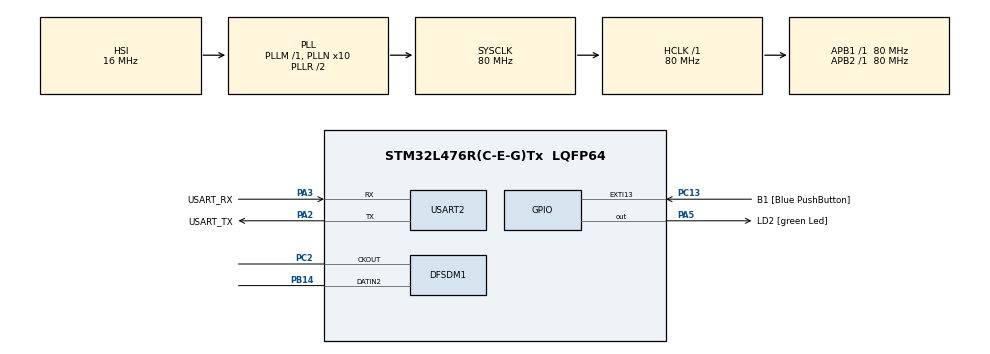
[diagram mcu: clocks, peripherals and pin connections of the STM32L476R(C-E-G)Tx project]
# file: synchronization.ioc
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DFSDM1.Divider=32
DFSDM1.DmaMode_reg_FIL0=ENABLE
DFSDM1.FastMode_reg_FIL0=ENABLE
DFSDM1.Filter_regChannel_FIL0=DFSDM_CHANNEL_2
DFSDM1.Filter_regChannel_FIL1=__NULL
DFSDM1.Filter_regChannel_FIL2=__NULL
DFSDM1.Fosr_FIL0=32
DFSDM1.Iosr_FIL0=1
DFSDM1.Offset_CH2=0
DFSDM1.Oversampling_CH2=10
DFSDM1.RightBitShift_CH2=0x2
DFSDM1.SincOrder_FIL0=DFSDM_FILTER_SINC5_ORDER
Dma.DFSDM1_FLT0.0.Direction=DMA_PERIPH_TO_MEMORY
Dma.DFSDM1_FLT0.0.Instance=DMA1_Channel4
Dma.DFSDM1_FLT0.0.MemDataAlignment=DMA_MDATAALIGN_WORD
Dma.DFSDM1_FLT0.0.MemInc=DMA_MINC_ENABLE
Dma.DFSDM1_FLT0.0.Mode=DMA_CIRCULAR
Dma.DFSDM1_FLT0.0.PeriphDataAlignment=DMA_PDATAALIGN_WORD
Dma.DFSDM1_FLT0.0.PeriphInc=DMA_PINC_DISABLE
Dma.DFSDM1_FLT0.0.Priority=DMA_PRIORITY_MEDIUM
Dma.Request0=DFSDM1_FLT0
Mcu.Family=STM32L4
Mcu.Name=STM32L476R(C-E-G)Tx
Mcu.Package=LQFP64
NVIC.DMA1_Channel4_IRQn=true\:0\:0\:true\:false\:true\:false
NVIC.EXTI15_10_IRQn=true\:0\:0\:false\:false\:true\:true
NVIC.PriorityGroup=NVIC_PRIORITYGROUP_4
NVIC.USART2_IRQn=true\:0\:0\:false\:false\:true\:true
PA13\ (JTMS-SWDIO).GPIO_Label=TMS
PA13\ (JTMS-SWDIO).Mode=Serial_Wire
PA13\ (JTMS-SWDIO).Signal=SYS_JTMS-SWDIO
PA14\ (JTCK-SWCLK).GPIO_Label=TCK
PA14\ (JTCK-SWCLK).Mode=Serial_Wire
PA14\ (JTCK-SWCLK).Signal=SYS_JTCK-SWCLK
PA2.GPIO_Label=USART_TX
PA2.GPIO_Mode=GPIO_MODE_AF_PP
PA2.GPIO_PuPd=GPIO_NOPULL
PA2.GPIO_Speed=GPIO_SPEED_FREQ_VERY_HIGH
PA2.Mode=Asynchronous
PA2.Signal=USART2_TX
PA3.GPIO_Label=USART_RX
PA3.GPIO_Mode=GPIO_MODE_AF_PP
PA3.GPIO_PuPd=GPIO_NOPULL
PA3.GPIO_Speed=GPIO_SPEED_FREQ_VERY_HIGH
PA3.Mode=Asynchronous
PA3.Signal=USART2_RX
PA5.GPIO_Label=LD2 [green Led]
PA5.GPIO_ModeDefaultOutputPP=GPIO_MODE_OUTPUT_PP
PA5.GPIO_PuPd=GPIO_NOPULL
PA5.GPIO_Speed=GPIO_SPEED_FREQ_LOW
PA5.Signal=GPIO_Output
PB14.Signal=S_DATAIN2DFSDM1
PB3\ (JTDO-TRACESWO).GPIO_Label=SWO
PB3\ (JTDO-TRACESWO).Signal=SYS_JTDO-SWO
PC13.GPIO_Label=B1 [Blue PushButton]
PC13.GPIO_ModeDefaultEXTI=GPIO_MODE_IT_FALLING
PC13.GPIO_PuPd=GPIO_NOPULL
PC13.Signal=GPXTI13
PC2.Signal=S_CKOUTDFSDM1
ProjectManager.HeapSize=0x200
ProjectManager.StackSize=0x400
ProjectManager.TargetToolchain=TrueSTUDIO
RCC.ADCFreq_Value=64000000
RCC.AHBFreq_Value=80000000
RCC.APB1Freq_Value=80000000
RCC.APB1TimFreq_Value=80000000
RCC.APB2Freq_Value=80000000
RCC.APB2TimFreq_Value=80000000
RCC.CortexFreq_Value=80000000
RCC.HCLKFreq_Value=80000000
RCC.HSE_VALUE=8000000
RCC.HSI_VALUE=16000000
RCC.LSE_VALUE=32768
RCC.MSI_VALUE=4000000
RCC.PLLN=10
RCC.PLLSourceVirtual=RCC_PLLSOURCE_HSI
RCC.PREFETCH_ENABLE=1
RCC.SYSCLKFreq_VALUE=80000000
RCC.SYSCLKSource=RCC_SYSCLKSOURCE_PLLCLK
RCC.USBFreq_Value=64000000
RCC.VCOOutputFreq_Value=160000000
SH.S_CKOUTDFSDM1.0=DFSDM1_CKOUT,PDM_SPI_input_from_ch2_and_internal_clock
SH.S_CKOUTDFSDM1.1=DFSDM1_CKOUT,CKOUT
SH.S_DATAIN2DFSDM1.0=DFSDM1_DATIN2,PDM_SPI_input_from_ch2_and_internal_clock
USART2.VirtualMode-Asynchronous=VM_ASYNC
USART2.WordLength=WORDLENGTH_8B
board=NUCLEO-L476RG

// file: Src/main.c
/**
  ******************************************************************************
  * @file           : main.c
  * @brief          : Main program body
  ******************************************************************************
  ** This notice applies to any and all portions of this file
  * that are not between comment pairs USER CODE BEGIN and
  * USER CODE END. Other portions of this file, whether
  * inserted by the user or by software development tools
  * are owned by their respective copyright owners.
  *
  * COPYRIGHT(c) 2018 STMicroelectronics
  *
  * Redistribution and use in source and binary forms, with or without modification,
  * are permitted provided that the following conditions are met:
  *   1. Redistributions of source code must retain the above copyright notice,
  *      this list of conditions and the following disclaimer.
  *   2. Redistributions in binary form must reproduce the above copyright notice,
  *      this list of conditions and the following disclaimer in the documentation
  *      and/or other materials provided with the distribution.
  *   3. Neither the name of STMicroelectronics nor the names of its contributors
  *      may be used to endorse or promote products derived from this software
  *      without specific prior written permission.
  *
  * THIS SOFTWARE IS PROVIDED BY THE COPYRIGHT HOLDERS AND CONTRIBUTORS "AS IS"
  * AND ANY EXPRESS OR IMPLIED WARRANTIES, INCLUDING, BUT NOT LIMITED TO, THE
  * IMPLIED WARRANTIES OF MERCHANTABILITY AND FITNESS FOR A PARTICULAR PURPOSE ARE
  * DISCLAIMED. IN NO EVENT SHALL THE COPYRIGHT HOLDER OR CONTRIBUTORS BE LIABLE
  * FOR ANY DIRECT, INDIRECT, INCIDENTAL, SPECIAL, EXEMPLARY, OR CONSEQUENTIAL
  * DAMAGES (INCLUDING, BUT NOT LIMITED TO, PROCUREMENT OF SUBSTITUTE GOODS OR
  * SERVICES; LOSS OF USE, DATA, OR PROFITS; OR BUSINESS INTERRUPTION) HOWEVER
  * CAUSED AND ON ANY THEORY OF LIABILITY, WHETHER IN CONTRACT, STRICT LIABILITY,
  * OR TORT (INCLUDING NEGLIGENCE OR OTHERWISE) ARISING IN ANY WAY OUT OF THE USE
  * OF THIS SOFTWARE, EVEN IF ADVISED OF THE POSSIBILITY OF SUCH DAMAGE.
  *
  ******************************************************************************
  */
#include "main.h"
#include "stm32l4xx_hal.h"
#include "dfsdm.h"
#include "dma.h"
#include "usart.h"
#include "gpio.h"

/* USER CODE BEGIN Includes */
#include "math.h"
#include "stdbool.h"
#include "arm_math.h"
#include "arm_const_structs.h"
#include "chirp.h"
/* USER CODE END Includes */

/* USER CODE BEGIN PV */
/* Private variables ---------------------------------------------------------*/

const uint32_t PCM_SAMPLES_HALF = PCM_SAMPLES / 2;
const uint32_t PCM_SAMPLES_DOUBLE = PCM_SAMPLES * 2;

// flag: "new PCM data has just been copied to buf"
bool new_pcm_data = false;

// Audio sampling rate and period
float f_s;
float T;

// DMA peripheral to memory buffer
int32_t buf[PCM_SAMPLES] = { 0 };

// FIFO queue of PCM data for further processing (FFT)
// Note: PCM_SAMPLES * 4 does not work. Array size limitation???
float fifo_queue[PCM_SAMPLES * 3] = { 0.0f };

// FFT-related
float hann_window[PCM_SAMPLES];
const float WINDOW_SCALE = 2.0f * M_PI / (float) PCM_SAMPLES;

// UART output flag
bool output_result = false;

// UART input/output
uint8_t rxbuf[1];
bool all_data = false;

// State machine
enum state {
  IDLE, SYNCHRONIZING, SYNCHRONIZED, DATA_RECEIVING
};
enum state state = IDLE;

const char STATE[4][16] = { "IDLE", "SYNCHRONIZING", "SYNCHRONIZED",
    "DATA_RECEIVING" };
const char SIMPLE_STATE[4] = { 'I', 'G', 'S' ,'R' };

enum ope_mode {
  NORMAL, SIMPLE, DETAIL
};

const enum ope_mode MODE = NORMAL;

// Stats
struct history {
  float mag_max;  // Max magnitude in the bandwidth
  float mag_max_left;  // Max magnitude in the left
  float mag_max_right;  // Max magnitude in the right
  int32_t max_freq;  // Frequency at max magnitude in the bandwidth
  int32_t max_freq_left;   // Frequency at max magnitude in the left
  int32_t max_freq_right;  // Frequency at max magnitude in the right
  uint32_t start_time;   // DSP start time
  uint32_t finish_time;  // DSP finish time
  float mag_mean;  // Mean magnitude in the past
  float snr;  // S/N Ratio
  char rank;  // Magnitude ranking
};

uint32_t bandwidth;
uint32_t bandwidth2;
uint32_t idx_left_zero;

/* USER CODE END PV */

void SystemClock_Config(void);

/* USER CODE BEGIN PFP */
/* Private function prototypes -----------------------------------------------*/

/* USER CODE END PFP */

/* USER CODE BEGIN 0 */

int32_t idx2freq(uint32_t idx) {
  if (idx < PCM_SAMPLES_HALF) {
    return (int32_t) f_s * idx / PCM_SAMPLES;
  } else {
    return ((int32_t) f_s * (PCM_SAMPLES - idx) / PCM_SAMPLES) * -1;
  }
}

// Digital signal processing pipeline
void pipeline(float *pframe, int updown) {

  // Execute real up-chirp w/ real noise * complex up-chirp
  mult_ref_chirp(pframe, updown);

  // Windowing
  arm_cmplx_mult_real_f32(pframe, hann_window, pframe, PCM_SAMPLES);

  // Execute complex FFT
  arm_cfft_f32(&arm_cfft_sR_f32_len2048, pframe, 0, 1);

  // Calculate magnitude
  arm_cmplx_mag_f32(pframe, pframe, PCM_SAMPLES);

}

// Digital signal processing
void dsp(uint32_t sync_position, struct history *phist, float32_t mag_mean,
    int updown) {

  float32_t time_frame[PCM_SAMPLES_DOUBLE];
  uint32_t re, im;

  float mag_max;
  float mag_max_left;
  float mag_max_right;
  uint32_t max_idx;
  uint32_t max_idx_left;
  uint32_t max_idx_right;

  // Copy PCM data to input/output buffer for DSP
  for (uint32_t i = 0; i < PCM_SAMPLES; i++) {
    re = i * 2;
    im = re + 1;
    time_frame[re] = fifo_queue[sync_position + i];
    time_frame[im] = 0.0f;
  }

  uint32_t start_time = HAL_GetTick();

// Digital signal processing pipeline
  pipeline(time_frame, updown);

// Calculate indexes of max magnitudes
  arm_max_f32(&time_frame[idx_left_zero], bandwidth2, &mag_max_left,
      &max_idx_left);
  arm_max_f32(&time_frame[0], bandwidth2, &mag_max_right, &max_idx_right);
  if (mag_max_left > mag_max_right) {
    mag_max = mag_max_left;
    max_idx = idx_left_zero + max_idx_left;
  } else {
    mag_max = mag_max_right;
    max_idx = max_idx_right;
  }

  uint32_t finish_time = HAL_GetTick();

  // Stats
  phist->mag_max = mag_max;
  phist->mag_max_left = mag_max_left;
  phist->mag_max_right = mag_max_right;
  phist->max_freq = idx2freq(max_idx);
  phist->max_freq_left = idx2freq(idx_left_zero + max_idx_left);
  phist->max_freq_right = idx2freq(max_idx_right);
  phist->start_time = start_time;
  phist->finish_time = finish_time;
  phist->mag_mean = mag_mean;
  phist->snr = (mag_max - mag_mean) / mag_mean;

}

float32_t symbol_snr(uint32_t sync_position, struct history *phist, int updown) {
  dsp(sync_position, phist, phist->mag_mean, updown);
  return phist->snr;
}

void set_ranks(struct history hist[], char r0, char r1) {
  hist[0].rank = r0;
  hist[1].rank = r1;
}

void resync(float32_t snr, struct history hist[], uint32_t offset,
    uint32_t *sync_position, int updown) {

  int32_t sync_position_l = *sync_position - offset;
  int32_t sync_position_r = *sync_position + offset;

  float32_t snr_l = symbol_snr(sync_position_l, &hist[2], updown);
  float32_t snr_r = symbol_snr(sync_position_r, &hist[3], updown);

  if ((snr > snr_l) && (snr > snr_r)) {
    set_ranks(&hist[2], '-', '-');
  } else {  // Adjust sync_position

    if (snr_l >= snr_r) {
      if (sync_position_l >= 0) {
        *sync_position = sync_position_l;
        set_ranks(&hist[2], 'L', '-');  // move sync_position left
      } else {
        set_ranks(&hist[2], 'l', '-');  // reached left edge
      }
    } else if (snr_l < snr_r) {
      if (sync_position_r <= PCM_SAMPLES_DOUBLE) {
        *sync_position = sync_position_r;
        set_ranks(&hist[2], '-', 'R');  // move sync_position right
      } else {
        set_ranks(&hist[2], '-', 'r');  // reached right edge
      }
    }

  }
}

void print_history(enum state prev_state, enum state state,
    struct history hist[], int num, enum ope_mode mode) {

  switch(mode) {

  case NORMAL:
    break;

  case SIMPLE:
    printf("%c => %c\n", SIMPLE_STATE[prev_state], SIMPLE_STATE[state]);
    for (int i = 0; i < num; i++) {
      printf("%c,%6.1f\n", hist[i].rank, hist[i].snr);
    }
    break;

  case DETAIL:
    printf("\nstate: %s => %s\n", STATE[prev_state], STATE[state]);
    printf(
        "r,  freq,freq_l,freq_r, t_s, t_f,      max,    max_l,    max_r, mag_mean,   snr\n");
    for (int i = 0; i < num; i++) {
      printf("%c,%6ld,%6ld,%6ld,%4lu,%4lu, %4.2e, %4.2e, %4.2e, %4.2e,%6.1f\n",
          hist[i].rank, hist[i].max_freq, hist[i].max_freq_left,
          hist[i].max_freq_right, hist[i].start_time % 1000,
          hist[i].finish_time % 1000, hist[i].mag_max, hist[i].mag_max_left,
          hist[i].mag_max_right, hist[i].mag_mean, hist[i].snr);
    }
    break;
  }
}

/* USER CODE END 0 */

int main(void)
{
  /* USER CODE BEGIN 1 */
  const bool MODE = true;

  uint32_t max_idx = 0;
  uint32_t turn = 0;
  uint32_t offset, shift;

// Stats-related
  struct history history[8];

  float mag_stat[12] = { 1E37, 1E37, 1E37, 1E37, 1E37, 1E37, 1E37, 1E37, 1E37,
      1E37, 1E37, 1E37 };

  float mag_max;
  float mag_mean;
  float mag_max_max;

  // Time frame synchronization
  uint32_t sync_cnt = 0;
  uint32_t sync_position = PCM_SAMPLES_HALF;
  float32_t snr, snr_up, snr_down;

  enum state prev_state = IDLE;

  char msg[128];
  int msg_len = 0;

  /* USER CODE END 1 */

  /* MCU Configuration----------------------------------------------------------*/

  /* Reset of all peripherals, Initializes the Flash interface and the Systick. */
  HAL_Init();

  /* Configure the system clock */
  SystemClock_Config();

  /* Initialize all configured peripherals */
  MX_GPIO_Init();
  MX_DMA_Init();
  MX_USART2_UART_Init();
  MX_DFSDM1_Init();
  /* USER CODE BEGIN 2 */

// FFT sampling rate
  f_s = SystemCoreClock / hdfsdm1_channel2.Init.OutputClock.Divider
      / hdfsdm1_filter0.Init.FilterParam.Oversampling
      / hdfsdm1_filter0.Init.FilterParam.IntOversampling;

// Statistics-related
  bandwidth = (F1 - F0) * PCM_SAMPLES / f_s;
  bandwidth2 = bandwidth * 2;
  idx_left_zero = PCM_SAMPLES - bandwidth2;

// Initialize reference chirp signal
  init_ref_chirp(f_s);

// Enable UART receive interrupt
  HAL_UART_Receive_IT(&huart2, rxbuf, 1);

// Enable DMA from DFSDM to buf (peripheral to memory)
  if (HAL_DFSDM_FilterRegularStart_DMA(&hdfsdm1_filter0, buf, PCM_SAMPLES)
      != HAL_OK) {
    Error_Handler();
  }

// Generate Hanning window
  for (uint32_t i = 0; i < PCM_SAMPLES; i++) {
    hann_window[i] = 0.5f - 0.5f * arm_cos_f32((float) i * WINDOW_SCALE);
  }

// Print starting message
  printf("/// Receiver ///\n\n");
  printf("Sampling rate: %4.1f(kHz)\n", (float) f_s / 1000.0f);
  T = 1.0f / f_s * PCM_SAMPLES;
  printf("Sampling period: %.1f(msec), Samples per period: %ld\n\n",
      T * 1000.0f, PCM_SAMPLES);
  printf("Push USER button to output single-shot FFT\n");
  /* USER CODE END 2 */

  /* Infinite loop */
  /* USER CODE BEGIN WHILE */
  offset = PCM_SAMPLES / 8;
  shift = PCM_SAMPLES / 4;

  while (1) {

    HAL_Delay(1);

    // Wait for next PCM samples from DFSDM (MEMS mic)
    if (new_pcm_data) {

      prev_state = state;

      switch (state) {

      case IDLE:

        sync_cnt = 0;
        msg_len = 0;
        arm_mean_f32(&mag_stat[4], 8, &mag_mean);
        // intentionally no break here

      case SYNCHRONIZING:

        // Execute FFT four times per time frame (every 20.5msec)
        //
        //             sync_position = turn * offset + shift * i
        //             |
        //             V
        // data        <-2048 samples->
        // turn 0  |---|---|---|---|
        // turn 1  : |---|---|---|---|
        //          -> offset
        for (uint32_t i = 0; i < 4; i++) {
          sync_position = PCM_SAMPLES_HALF + turn * offset + shift * i;
          int idx = i * 2 + turn;  // Stats index
          dsp(sync_position, &history[idx], mag_mean, UP_CHIRP);
        }

        turn = (turn == 0) ? 1 : 0;

        if (turn == 1) {

          // Shift magnitude history
          for (int i = 10; i >= 0; i--) {
            mag_stat[i + 1] = mag_stat[i];
          }

          // Find max magnitude in the history
          mag_max_max = 0.0f;
          for (int i = 0; i < 8; i++) {
            history[i].rank = '-';
            mag_max = history[i].mag_max;
            if (mag_max > mag_max_max) {
              mag_max_max = mag_max;
              max_idx = i;
            }
          }

          mag_stat[0] = mag_max_max;  // TODO: is this necessary?
          history[max_idx].rank = '+';

          // S/N Ratio
          snr = (mag_max_max - mag_mean) / mag_mean;

          if (snr >= SNR_THRESHOLD) {
            state = SYNCHRONIZING;
            if (++sync_cnt >= 3) {
              state = SYNCHRONIZED;
              sync_position = PCM_SAMPLES_HALF + max_idx * offset;
            }
          } else {
            state = IDLE;
          }
        }
        break;

      case SYNCHRONIZED:
        // TODO: SYNCHRONIZED also requires re-sync.

        snr_up = symbol_snr(sync_position, &history[0], UP_CHIRP);
        snr_down = symbol_snr(sync_position, &history[1], DOWN_CHIRP);

        if ((snr_up >= SNR_THRESHOLD) || (snr_down >= SNR_THRESHOLD)) {

          if (snr_down > snr_up) {
            set_ranks(history, '-', 'D');
            resync(snr_down, history, offset, &sync_position, DOWN_CHIRP);
            state = DATA_RECEIVING;
          } else {
            set_ranks(history, 'U', '-');
            resync(snr_up, history, offset, &sync_position, UP_CHIRP);
          }

        } else {
          state = IDLE;
        }
        break;

      case DATA_RECEIVING:

        snr_up = symbol_snr(sync_position, &history[0], UP_CHIRP);
        snr_down = symbol_snr(sync_position, &history[1], DOWN_CHIRP);

        if ((snr_up >= SNR_THRESHOLD) || (snr_down >= SNR_THRESHOLD)) {

          if (snr_down > snr_up) {  // Bit low
            set_ranks(history, '-', '0');
            msg[msg_len++] = '0';
            resync(snr_down, history, offset, &sync_position, DOWN_CHIRP);
          } else {  // Bit high
            set_ranks(history, '1', '-');
            msg[msg_len++] = '1';
            resync(snr_up, history, offset, &sync_position, UP_CHIRP);
          }

        } else {
          msg[msg_len] = '\0';
          printf("%s\n", msg);
          state = IDLE;
          msg_len = 0;
        }
        break;

      default:
        break;
      }

      switch (prev_state) {
      case IDLE:
        if (state == SYNCHRONIZING) {
          print_history(prev_state, state, history, 8, MODE);
        }
        break;
      case SYNCHRONIZING:
        if (turn == 1) {  // Output debug info
          print_history(prev_state, state, history, 8, MODE);
        }
        break;
      case SYNCHRONIZED:
        print_history(prev_state, state, history, 4, MODE);
        break;
      case DATA_RECEIVING:
        print_history(prev_state, state, history, 4, MODE);
        break;
      default:
        break;
      }

      new_pcm_data = false;
    }
  }

  /* USER CODE END WHILE */

}

void SystemClock_Config(void)
{

  RCC_OscInitTypeDef RCC_OscInitStruct;
  RCC_ClkInitTypeDef RCC_ClkInitStruct;
  RCC_PeriphCLKInitTypeDef PeriphClkInit;

    /**Initializes the CPU, AHB and APB busses clocks
    */
  RCC_OscInitStruct.OscillatorType = RCC_OSCILLATORTYPE_HSI;
  RCC_OscInitStruct.HSIState = RCC_HSI_ON;
  RCC_OscInitStruct.HSICalibrationValue = 16;
  RCC_OscInitStruct.PLL.PLLState = RCC_PLL_ON;
  RCC_OscInitStruct.PLL.PLLSource = RCC_PLLSOURCE_HSI;
  RCC_OscInitStruct.PLL.PLLM = 1;
  RCC_OscInitStruct.PLL.PLLN = 10;
  RCC_OscInitStruct.PLL.PLLP = RCC_PLLP_DIV7;
  RCC_OscInitStruct.PLL.PLLQ = RCC_PLLQ_DIV2;
  RCC_OscInitStruct.PLL.PLLR = RCC_PLLR_DIV2;
  if (HAL_RCC_OscConfig(&RCC_OscInitStruct) != HAL_OK)
  {
    _Error_Handler(__FILE__, __LINE__);
  }

    /**Initializes the CPU, AHB and APB busses clocks
    */
  RCC_ClkInitStruct.ClockType = RCC_CLOCKTYPE_HCLK|RCC_CLOCKTYPE_SYSCLK
                              |RCC_CLOCKTYPE_PCLK1|RCC_CLOCKTYPE_PCLK2;
  RCC_ClkInitStruct.SYSCLKSource = RCC_SYSCLKSOURCE_PLLCLK;
  RCC_ClkInitStruct.AHBCLKDivider = RCC_SYSCLK_DIV1;
  RCC_ClkInitStruct.APB1CLKDivider = RCC_HCLK_DIV1;
  RCC_ClkInitStruct.APB2CLKDivider = RCC_HCLK_DIV1;

  if (HAL_RCC_ClockConfig(&RCC_ClkInitStruct, FLASH_LATENCY_4) != HAL_OK)
  {
    _Error_Handler(__FILE__, __LINE__);
  }

  PeriphClkInit.PeriphClockSelection = RCC_PERIPHCLK_USART2|RCC_PERIPHCLK_DFSDM1;
  PeriphClkInit.Usart2ClockSelection = RCC_USART2CLKSOURCE_PCLK1;
  PeriphClkInit.Dfsdm1ClockSelection = RCC_DFSDM1CLKSOURCE_PCLK;
  if (HAL_RCCEx_PeriphCLKConfig(&PeriphClkInit) != HAL_OK)
  {
    _Error_Handler(__FILE__, __LINE__);
  }

    /**Configure the main internal regulator output voltage
    */
  if (HAL_PWREx_ControlVoltageScaling(PWR_REGULATOR_VOLTAGE_SCALE1) != HAL_OK)
  {
    _Error_Handler(__FILE__, __LINE__);
  }

    /**Configure the Systick interrupt time
    */
  HAL_SYSTICK_Config(HAL_RCC_GetHCLKFreq()/1000);

    /**Configure the Systick
    */
  HAL_SYSTICK_CLKSourceConfig(SYSTICK_CLKSOURCE_HCLK);

  /* SysTick_IRQn interrupt configuration */
  HAL_NVIC_SetPriority(SysTick_IRQn, 0, 0);
}

/* USER CODE BEGIN 4 */

/**
 * @brief  Half regular conversion complete callback.
 * @param  hdfsdm_filter : DFSDM filter handle.
 * @retval None
 */
void HAL_DFSDM_FilterRegConvHalfCpltCallback(
    DFSDM_Filter_HandleTypeDef *hdfsdm_filter) {

}

/**
 * @brief  Regular conversion complete callback.
 * @note   In interrupt mode, user has to read conversion value in this function
 using HAL_DFSDM_FilterGetRegularValue.
 * @param  hdfsdm_filter : DFSDM filter handle.
 * @retval None
 */
void HAL_DFSDM_FilterRegConvCpltCallback(
    DFSDM_Filter_HandleTypeDef *hdfsdm_filter) {
  static uint32_t cnt = 0;
  if (!new_pcm_data && (hdfsdm_filter == &hdfsdm1_filter0)) {
    if (cnt == 0) {
      arm_copy_f32(&fifo_queue[PCM_SAMPLES], fifo_queue, PCM_SAMPLES_DOUBLE);
      arm_fill_f32(0.0f, &fifo_queue[PCM_SAMPLES_DOUBLE], PCM_SAMPLES);
    }
    for (uint32_t i = 0; i < PCM_SAMPLES; i++) {
      uint32_t j = PCM_SAMPLES_DOUBLE + i;
      fifo_queue[j] = fifo_queue[j] + (float) buf[i];
    }
    if (++cnt > SYNCHRONOUS_ADDITION) {
      new_pcm_data = true;
      cnt = 0;
    }
  }
}

/**
 * @brief  Retargets the C library printf function to the USART.
 * @param  None
 * @retval None
 */
int _write(int file, char *ptr, int len) {
  HAL_UART_Transmit(&huart2, (uint8_t *) ptr, (uint16_t) len, 0xFFFFFFFF);
  return len;
}

/**
 * @brief  GPIO External Interrupt callback
 * @param  GPIO_Pin
 * @retval None
 */
void HAL_GPIO_EXTI_Callback(uint16_t GPIO_Pin) {
  if (GPIO_Pin == GPIO_PIN_13) {  // User button (blue tactile switch)
    HAL_GPIO_WritePin(LD2_GPIO_Port, LD2_Pin, GPIO_PIN_SET);
    output_result = true;
  }
}

void HAL_UART_RxCpltCallback(UART_HandleTypeDef *huart) {

  switch (rxbuf[0]) {
  case '1':
    all_data = true;
    break;
  case '2':
    all_data = true;
    break;
  case '3':
    all_data = false;
    break;
  }

  output_result = true;

  HAL_GPIO_WritePin(LD2_GPIO_Port, LD2_Pin, GPIO_PIN_SET);
  HAL_UART_Receive_IT(&huart2, rxbuf, 1);
}
/* USER CODE END 4 */

void _Error_Handler(char *file, int line)
{
  /* USER CODE BEGIN Error_Handler_Debug */
  printf("Error! Line = %d\n", line);
  /* User can add his own implementation to report the HAL error return state */
  while (1) {
  }
  /* USER CODE END Error_Handler_Debug */
}

/************************ (C) COPYRIGHT STMicroelectronics *****END OF FILE****/
